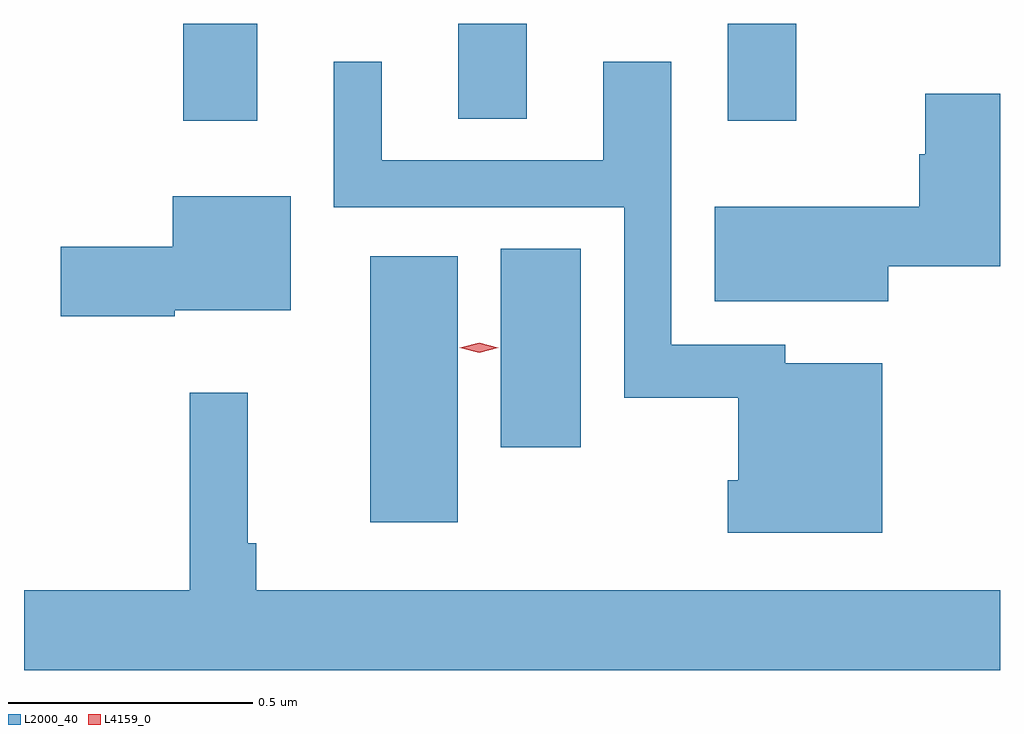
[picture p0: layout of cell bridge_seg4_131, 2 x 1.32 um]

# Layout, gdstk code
import gdstk
lib = gdstk.Library(unit=1e-6, precision=1e-09)
def R(c, l, rs):  # rectangles x0, y0, x1, y1
    for r in rs: c.add(gdstk.rectangle(r[:2], r[2:], *l))
def P(c, l, *ps):  # polygons
    for p in ps: c.add(gdstk.Polygon(p, *l))
L2000_40 = (2000, 40)
L4159_0 = (4159, 0)

bridge_seg4_131 = lib.new_cell('bridge_seg4_131')
R(bridge_seg4_131, L2000_40, [(263.885,789.131,264.064,789.676), (264.152,789.285,264.316,789.692), (263.501,789.954,263.653,790.153), (264.617,789.954,264.757,790.153), (264.065,789.958,264.205,790.153)])
P(bridge_seg4_131, L2000_40, [(264.934,789.457),(264.735,789.457),(264.735,789.495),(264.501,789.495),(264.501,790.075),(264.362,790.075),(264.362,789.873),(263.908,789.873),(263.908,790.075),(263.81,790.075),(263.81,789.777),(264.405,789.777),(264.405,789.387),(264.639,789.387),(264.639,789.217),(264.617,789.217),(264.617,789.11),(264.934,789.11)],
  [(264.946,789.656),(265.175,789.656),(265.175,790.009),(265.022,790.009),(265.022,789.885),(265.01,789.885),(265.01,789.778),(264.59,789.778),(264.59,789.584),(264.946,789.584)],
  [(263.484,789.566),(263.722,789.566),(263.722,789.799),(263.48,789.799),(263.48,789.696),(263.25,789.696),(263.25,789.554),(263.484,789.554)],
  [(265.175,788.992),(263.651,788.992),(263.651,789.088),(263.634,789.088),(263.634,789.397),(263.515,789.397),(263.515,788.992),(263.175,788.992),(263.175,788.828),(265.175,788.828)])
P(bridge_seg4_131, L4159_0, [(264.108,789.479),(264.068,789.489),(264.068,789.489),(264.068,789.489),(264.108,789.499),(264.147,789.489),(264.147,789.489),(264.147,789.489)])

lib.write_gds('bridge_seg4_131.gds')
